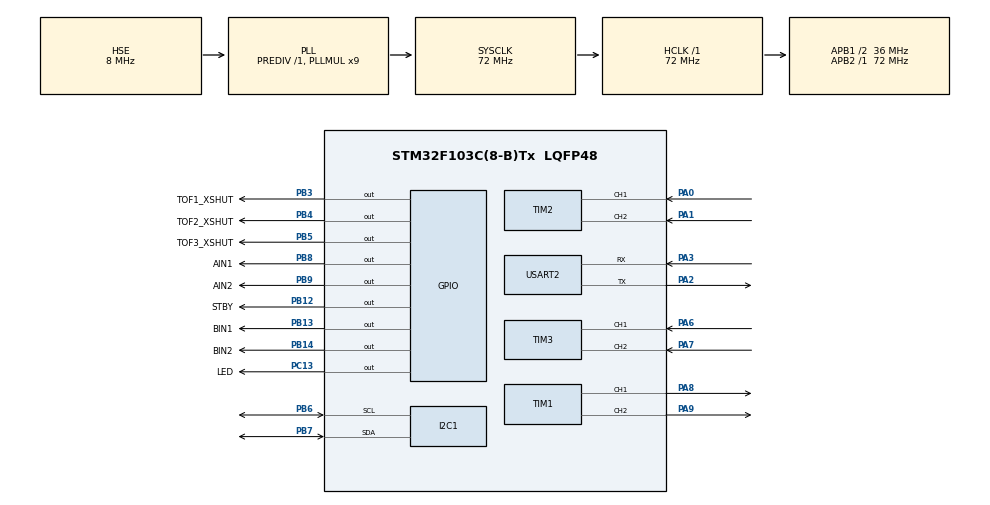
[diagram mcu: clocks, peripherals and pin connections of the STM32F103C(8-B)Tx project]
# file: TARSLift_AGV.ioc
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Mcu.Family=STM32F1
Mcu.Name=STM32F103C(8-B)Tx
Mcu.Package=LQFP48
NVIC.PriorityGroup=NVIC_PRIORITYGROUP_4
NVIC.USART2_IRQn=true\:0\:0\:false\:false\:true\:true\:true\:true
PA0-WKUP.Signal=S_TIM2_CH1_ETR
PA1.Signal=S_TIM2_CH2
PA2.Mode=Asynchronous
PA2.Signal=USART2_TX
PA3.Mode=Asynchronous
PA3.Signal=USART2_RX
PA6.Signal=S_TIM3_CH1
PA7.Signal=S_TIM3_CH2
PA8.Signal=S_TIM1_CH1
PA9.Signal=S_TIM1_CH2
PB12.GPIO_Label=STBY
PB12.Signal=GPIO_Output
PB13.GPIO_Label=BIN1
PB13.Signal=GPIO_Output
PB14.GPIO_Label=BIN2
PB14.Signal=GPIO_Output
PB3.GPIO_Label=TOF1_XSHUT
PB3.Signal=GPIO_Output
PB4.GPIO_Label=TOF2_XSHUT
PB4.Signal=GPIO_Output
PB5.GPIO_Label=TOF3_XSHUT
PB5.GPIO_Speed=GPIO_SPEED_FREQ_LOW
PB5.Signal=GPIO_Output
PB6.Mode=I2C
PB6.Signal=I2C1_SCL
PB7.Mode=I2C
PB7.Signal=I2C1_SDA
PB8.GPIO_Label=AIN1
PB8.Signal=GPIO_Output
PB9.GPIO_Label=AIN2
PB9.Signal=GPIO_Output
PC13-TAMPER-RTC.GPIO_Label=LED
PC13-TAMPER-RTC.Signal=GPIO_Output
PD0-OSC_IN.Mode=HSE-External-Oscillator
PD0-OSC_IN.Signal=RCC_OSC_IN
PD1-OSC_OUT.Mode=HSE-External-Oscillator
PD1-OSC_OUT.Signal=RCC_OSC_OUT
ProjectManager.HeapSize=0x200
ProjectManager.StackSize=0x400
ProjectManager.TargetToolchain=STM32CubeIDE
RCC.AHBFreq_Value=72000000
RCC.APB1CLKDivider=RCC_HCLK_DIV2
RCC.APB1Freq_Value=36000000
RCC.APB1TimFreq_Value=72000000
RCC.APB2Freq_Value=72000000
RCC.APB2TimFreq_Value=72000000
RCC.HCLKFreq_Value=72000000
RCC.PLLMUL=RCC_PLL_MUL9
RCC.PLLSourceVirtual=RCC_PLLSOURCE_HSE
RCC.SYSCLKFreq_VALUE=72000000
RCC.SYSCLKSource=RCC_SYSCLKSOURCE_PLLCLK
RCC.USBFreq_Value=72000000
SH.S_TIM1_CH1.0=TIM1_CH1,PWM Generation1 CH1
SH.S_TIM1_CH2.0=TIM1_CH2,PWM Generation2 CH2
SH.S_TIM2_CH1_ETR.0=TIM2_CH1,Encoder_Interface
SH.S_TIM2_CH2.0=TIM2_CH2,Encoder_Interface
SH.S_TIM3_CH1.0=TIM3_CH1,Encoder_Interface
SH.S_TIM3_CH2.0=TIM3_CH2,Encoder_Interface
TIM1.Channel-PWM\ Generation1\ CH1=TIM_CHANNEL_1
TIM1.Channel-PWM\ Generation2\ CH2=TIM_CHANNEL_2
USART2.VirtualMode=VM_ASYNC
VP_SYS_VS_ND.Mode=No_Debug
VP_TIM1_VS_ClockSourceINT.Mode=Internal
board=custom

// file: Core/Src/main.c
/* USER CODE BEGIN Header */
/**
  ******************************************************************************
  * @file           : main.c
  * @brief          : Main program body
  ******************************************************************************
  * @attention
  *
  * Copyright (c) 2026 STMicroelectronics.
  * All rights reserved.
  *
  * This software is licensed under terms that can be found in the LICENSE file
  * in the root directory of this software component.
  * If no LICENSE file comes with this software, it is provided AS-IS.
  *
  ******************************************************************************
  */
/* USER CODE END Header */
#include "main.h"

/* USER CODE BEGIN Includes */
#include <string.h>
#include "agv_stm32_c.h"
#include "motor.h"
#include "mpu6050.h"
#include "vl53l0x.h"
/* USER CODE END Includes */

I2C_HandleTypeDef hi2c1;

TIM_HandleTypeDef htim1;
TIM_HandleTypeDef htim2;
TIM_HandleTypeDef htim3;

UART_HandleTypeDef huart2;

/* USER CODE BEGIN PV */
static agv_stm32_parser_t agv_parser;
static uint8_t rx_byte;
static uint8_t tx_buffer[128];

static int32_t current_left_dist_mm = 0;
static int32_t current_right_dist_mm = 0;
static int16_t current_yaw_deg_x10 = 0;
static uint32_t last_telemetry_time = 0;

// ============================================================================
// CRASH FIX 1: DispatchCommand was called directly from the UART RxCplt ISR.
// Calling HAL_UART_Transmit() (blocking) from inside an ISR is UNDEFINED
// BEHAVIOR and will lock up the MCU when the transmit IRQ fires at higher
// priority. Fix: set a pending flag in the ISR; dequeue & dispatch in main loop.
// ============================================================================
static volatile bool cmd_pending = false;
static agv_packet_t pending_pkt;  // copy of last received packet

// Motor Trim Percentages (100 = 100%, 80 = 80%, etc)
static uint8_t trim_l_fwd = 100;
static uint8_t trim_r_fwd = 100;
static uint8_t trim_l_turn = 100;
static uint8_t trim_r_turn = 100;

// PID Variables
static float pid_kp_L = 1.0f, pid_ki_L = 0.0f, pid_kd_L = 0.0f;
static float pid_kp_R = 1.0f, pid_ki_R = 0.0f, pid_kd_R = 0.0f;
static float pid_integral_L = 0.0f, pid_integral_R = 0.0f;

static float target_rpm_L = 0.0f, target_rpm_R = 0.0f;
static bool pid_enabled = true;
static float enc_wheel_circ_mm = 138.2f;
static uint16_t enc_ppr_l = 287;
static uint16_t enc_ppr_r = 287;

// BUG FIX 3: repeat_speed_pct stores the speed percentage (0-100) sent by
// AGV_CMD_SET_REPEAT_SPEED. Previously this command was silently ignored.
static uint16_t repeat_speed_pct = 100; // default 100%

static uint32_t last_pid_time = 0;
static uint32_t last_tof_time = 0;  // Separate timer for ToF reads
static uint16_t cached_tof_l = 0, cached_tof_c = 0, cached_tof_r = 0;
static float tof_stop_distance_mm = 150.0f; // Configured stop distance (mm). 0 = disabled.
static bool obstacle_blocked = false;
static bool is_bench_speed_test = false; // Bypass obstacle interlock during PID tuning bench tests

static VL53L0X_Dev_t tof_left;
static VL53L0X_Dev_t tof_center;
static VL53L0X_Dev_t tof_right;
static MPU6050_t mpu_data;
static float current_yaw_float = 0.0f;
static float gyro_z_offset = 0.0f;
static bool calibrating_imu = false;
static uint16_t calib_samples = 0;
static float calib_sum = 0.0f;
static uint32_t i2c_error_count = 0;

/* USER CODE END PV */

void SystemClock_Config(void);
static void MX_GPIO_Init(void);
static void MX_USART2_UART_Init(void);
static void MX_TIM1_Init(void);
static void MX_TIM2_Init(void);
static void MX_TIM3_Init(void);
static void MX_I2C1_Init(void);
/* USER CODE BEGIN PFP */
void AGV_STM32_DispatchCommand(const agv_packet_t *pkt);

// I2C runtime bus recovery: clocks SCL 9 times to free stuck slaves,
// then reinitializes the I2C peripheral.
void I2C_BusRecover(void) {
    // 1. Deinit the HAL I2C peripheral
    HAL_I2C_DeInit(&hi2c1);

    // 2. Bit-bang SCL (PB6) 9 times as GPIO open-drain
    GPIO_InitTypeDef recov = {0};
    recov.Pin   = GPIO_PIN_6 | GPIO_PIN_7;
    recov.Mode  = GPIO_MODE_OUTPUT_OD;
    recov.Speed = GPIO_SPEED_FREQ_LOW;
    HAL_GPIO_Init(GPIOB, &recov);
    HAL_GPIO_WritePin(GPIOB, GPIO_PIN_6 | GPIO_PIN_7, GPIO_PIN_SET);
    HAL_Delay(1);
    for (int i = 0; i < 9; i++) {
        HAL_GPIO_WritePin(GPIOB, GPIO_PIN_6, GPIO_PIN_RESET); HAL_Delay(1);
        HAL_GPIO_WritePin(GPIOB, GPIO_PIN_6, GPIO_PIN_SET);   HAL_Delay(1);
    }
    // Generate STOP: SDA LOW -> HIGH while SCL HIGH
    HAL_GPIO_WritePin(GPIOB, GPIO_PIN_7, GPIO_PIN_RESET); HAL_Delay(1);
    HAL_GPIO_WritePin(GPIOB, GPIO_PIN_7, GPIO_PIN_SET);   HAL_Delay(1);
    HAL_GPIO_DeInit(GPIOB, GPIO_PIN_6 | GPIO_PIN_7);

    // 3. Reinit I2C peripheral
    MX_I2C1_Init();
}

// Check if the I2C bus is in an error state and recover if needed.
// Returns true if a recovery was performed (caller should skip sensor reads).
bool I2C_CheckAndRecover(void) {
    if (hi2c1.ErrorCode != HAL_I2C_ERROR_NONE ||
        hi2c1.State == HAL_I2C_STATE_ERROR ||
        hi2c1.State == HAL_I2C_STATE_BUSY ||
        hi2c1.State == HAL_I2C_STATE_BUSY_TX ||
        hi2c1.State == HAL_I2C_STATE_BUSY_RX) {
        i2c_error_count++;
        I2C_BusRecover();
        return true;
    }
    return false;
}
/* USER CODE END PFP */

/* USER CODE BEGIN 0 */
void AGV_STM32_DispatchCommand(const agv_packet_t *pkt) {
    uint8_t tx_buf[128];
    switch (pkt->cmd) {
        case AGV_CMD_PING: {
            uint16_t tx_len = agv_build_ack(AGV_CMD_PING, AGV_RESULT_OK, pkt->seq, tx_buf, sizeof(tx_buf));
            HAL_UART_Transmit(&huart2, tx_buf, tx_len, 100);
            break;
        }

        case AGV_CMD_CALIBRATE_IMU: {
            calibrating_imu = true;
            calib_samples = 0;
            calib_sum = 0.0f;
            current_yaw_float = 0.0f;
            current_yaw_deg_x10 = 0;
            uint16_t tx_len = agv_build_ack(AGV_CMD_CALIBRATE_IMU, AGV_RESULT_OK, pkt->seq, tx_buf, sizeof(tx_buf));
            HAL_UART_Transmit(&huart2, tx_buf, tx_len, 100);
            break;
        }

        case AGV_CMD_SET_REPEAT_SPEED: {
            // BUG FIX 3: Actually parse and store the speed percentage.
            // agv_parse_set_repeat_speed() returns speed as a 0-100 percent value.
            uint16_t spd_pct = 100;
            if (agv_parse_set_repeat_speed(pkt, &spd_pct)) {
                if (spd_pct > 100) spd_pct = 100;
                repeat_speed_pct = spd_pct;
            }
            uint16_t tx_len = agv_build_ack(AGV_CMD_SET_REPEAT_SPEED, AGV_RESULT_OK, pkt->seq, tx_buf, sizeof(tx_buf));
            HAL_UART_Transmit(&huart2, tx_buf, tx_len, 100);
            break;
        }

        case AGV_CMD_SET_MOTOR_TRIM: {
            uint8_t lFwd = 100, rFwd = 100, lTurn = 100, rTurn = 100;
            if (agv_parse_motor_trim(pkt, &lFwd, &rFwd, &lTurn, &rTurn)) {
                trim_l_fwd = lFwd;
                trim_r_fwd = rFwd;
                trim_l_turn = lTurn;
                trim_r_turn = rTurn;
                uint16_t tx_len = agv_build_ack(AGV_CMD_SET_MOTOR_TRIM, AGV_RESULT_OK, pkt->seq, tx_buf, sizeof(tx_buf));
                HAL_UART_Transmit(&huart2, tx_buf, tx_len, 100);
            }
            break;
        }

        case AGV_CMD_SET_PID_TUNING: {
            float kpL, kiL, kdL, kpR, kiR, kdR;
            if (agv_parse_set_pid_tuning(pkt, &kpL, &kiL, &kdL, &kpR, &kiR, &kdR)) {
                pid_kp_L = kpL; pid_ki_L = kiL; pid_kd_L = kdL;
                pid_kp_R = kpR; pid_ki_R = kiR; pid_kd_R = kdR;
                uint16_t tx_len = agv_build_ack(AGV_CMD_SET_PID_TUNING, AGV_RESULT_OK, pkt->seq, tx_buf, sizeof(tx_buf));
                HAL_UART_Transmit(&huart2, tx_buf, tx_len, 100);
            }
            break;
        }

        case AGV_CMD_SET_PID_ENABLE: {
            bool enabled;
            if (agv_parse_set_pid_enable(pkt, &enabled)) {
                pid_enabled = enabled;
                uint16_t tx_len = agv_build_ack(AGV_CMD_SET_PID_ENABLE, AGV_RESULT_OK, pkt->seq, tx_buf, sizeof(tx_buf));
                HAL_UART_Transmit(&huart2, tx_buf, tx_len, 100);
            }
            break;
        }

        case AGV_CMD_SET_TOF_CONFIG: {
            float stop_dist = 0.0f;
            if (agv_parse_set_tof_config(pkt, &stop_dist)) {
                tof_stop_distance_mm = stop_dist;
                uint16_t tx_len = agv_build_ack(AGV_CMD_SET_TOF_CONFIG, AGV_RESULT_OK, pkt->seq, tx_buf, sizeof(tx_buf));
                HAL_UART_Transmit(&huart2, tx_buf, tx_len, 100);
            }
            break;
        }

        case AGV_CMD_SET_ENCODER_CONFIG: {
            float wheel_circ; uint16_t ppr_l, ppr_r;
            if (agv_parse_set_encoder_config(pkt, &wheel_circ, &ppr_l, &ppr_r)) {
                enc_wheel_circ_mm = wheel_circ;
                enc_ppr_l = ppr_l;
                enc_ppr_r = ppr_r;
                uint16_t tx_len = agv_build_ack(AGV_CMD_SET_ENCODER_CONFIG, AGV_RESULT_OK, pkt->seq, tx_buf, sizeof(tx_buf));
                HAL_UART_Transmit(&huart2, tx_buf, tx_len, 100);
            }
            break;
        }

        case AGV_CMD_TEACH_START: {
            uint16_t tx_len = agv_build_status(AGV_STATE_READY, 0x00, pkt->seq, tx_buf, sizeof(tx_buf));
            HAL_UART_Transmit(&huart2, tx_buf, tx_len, 100);
            break;
        }

        case AGV_CMD_HEARTBEAT: {
            uint16_t tx_len = agv_build_ack(AGV_CMD_HEARTBEAT, AGV_RESULT_OK, pkt->seq, tx_buf, sizeof(tx_buf));
            HAL_UART_Transmit(&huart2, tx_buf, tx_len, 100);
            break;
        }

        case AGV_CMD_GET_STATUS: {
            uint16_t tx_len = agv_build_status(AGV_STATE_READY, 0x00, pkt->seq, tx_buf, sizeof(tx_buf));
            HAL_UART_Transmit(&huart2, tx_buf, tx_len, 100);
            break;
        }

        case AGV_CMD_GET_VERSION: {
            uint16_t tx_len = agv_build_version(1, 0, 1, 2, 0, pkt->seq, tx_buf, sizeof(tx_buf));
            HAL_UART_Transmit(&huart2, tx_buf, tx_len, 100);
            break;
        }

        case AGV_CMD_MOVE: {
            is_bench_speed_test = false;
            int32_t distance_mm = 0;
            uint16_t speed_mm_s = 0;
            if (agv_parse_move(pkt, &distance_mm, &speed_mm_s)) {
                current_left_dist_mm += distance_mm;
                current_right_dist_mm += distance_mm;

                // Closed-Loop Drive Mapping: apply repeat_speed_pct scale
                float target_rpm = (speed_mm_s * 60.0f) / enc_wheel_circ_mm;
                target_rpm = target_rpm * repeat_speed_pct / 100.0f;

                if (distance_mm < 0) { // Reverse
                    target_rpm = -target_rpm;
                }

                target_rpm_L = target_rpm;
                target_rpm_R = target_rpm;

                uint16_t tx_len = agv_build_ack(AGV_CMD_MOVE, AGV_RESULT_OK, pkt->seq, tx_buf, sizeof(tx_buf));
                HAL_UART_Transmit(&huart2, tx_buf, tx_len, 100);

                tx_len = agv_build_odometry(current_left_dist_mm, current_right_dist_mm, current_yaw_deg_x10, pkt->seq, tx_buf, sizeof(tx_buf));
                HAL_UART_Transmit(&huart2, tx_buf, tx_len, 100);

                tx_len = agv_build_move_done(pkt->seq, AGV_RESULT_OK, pkt->seq + 1, tx_buf, sizeof(tx_buf));
                HAL_UART_Transmit(&huart2, tx_buf, tx_len, 100);
            }
            break;
        }

        case AGV_CMD_TURN: {
            is_bench_speed_test = false;
            int16_t angle_deg_x10 = 0;
            uint16_t speed_deg_s = 0;
            if (agv_parse_turn(pkt, &angle_deg_x10, &speed_deg_s)) {
                current_yaw_deg_x10 += angle_deg_x10;

                // Closed-Loop Turn Mapping: convert turning speed to differential wheel RPM
                float track_width_mm = 160.0f;
                float turn_speed_rad_s = (speed_deg_s * 3.14159f) / 180.0f;
                float wheel_speed_mm_s = turn_speed_rad_s * (track_width_mm / 2.0f);
                float turn_rpm = (wheel_speed_mm_s * 60.0f) / enc_wheel_circ_mm;
                turn_rpm = turn_rpm * repeat_speed_pct / 100.0f;

                if (angle_deg_x10 > 0) { // Turn Right
                    target_rpm_L = turn_rpm;
                    target_rpm_R = -turn_rpm;
                } else { // Turn Left
                    target_rpm_L = -turn_rpm;
                    target_rpm_R = turn_rpm;
                }

                uint16_t tx_len = agv_build_ack(AGV_CMD_TURN, AGV_RESULT_OK, pkt->seq, tx_buf, sizeof(tx_buf));
                HAL_UART_Transmit(&huart2, tx_buf, tx_len, 100);

                tx_len = agv_build_turn_done(pkt->seq, AGV_RESULT_OK, pkt->seq + 1, tx_buf, sizeof(tx_buf));
                HAL_UART_Transmit(&huart2, tx_buf, tx_len, 100);
            }
            break;
        }

        case AGV_CMD_STOP: {
            is_bench_speed_test = false;
            target_rpm_L = 0;
            target_rpm_R = 0;
            pid_integral_L = 0;
            pid_integral_R = 0;
            Motor_SetSpeed(0, 0); // Stop both motors

            uint16_t tx_len = agv_build_ack(AGV_CMD_STOP, AGV_RESULT_OK, pkt->seq, tx_buf, sizeof(tx_buf));
            HAL_UART_Transmit(&huart2, tx_buf, tx_len, 100);
            break;
        }

        case AGV_CMD_SET_SPEEDS: {
            int16_t left_speed_mm_s = 0;
            int16_t right_speed_mm_s = 0;
            if (agv_parse_set_speeds(pkt, &left_speed_mm_s, &right_speed_mm_s)) {
                // Convert mm/s to RPM
                target_rpm_L = (left_speed_mm_s * 60.0f) / enc_wheel_circ_mm;
                target_rpm_R = (right_speed_mm_s * 60.0f) / enc_wheel_circ_mm;
                is_bench_speed_test = (target_rpm_L != 0.0f || target_rpm_R != 0.0f);

                uint16_t tx_len = agv_build_ack(AGV_CMD_SET_SPEEDS, AGV_RESULT_OK, pkt->seq, tx_buf, sizeof(tx_buf));
                HAL_UART_Transmit(&huart2, tx_buf, tx_len, 100);
            }
            break;
        }

        default: {
            uint16_t tx_len = agv_build_ack(pkt->cmd, AGV_RESULT_OK, pkt->seq, tx_buf, sizeof(tx_buf));
            HAL_UART_Transmit(&huart2, tx_buf, tx_len, 100);
            break;
        }
    }
}

void HAL_UART_RxCpltCallback(UART_HandleTypeDef *huart) {
    if (huart->Instance == USART2) {
        // CRASH FIX 1: Do NOT call DispatchCommand() here.
        // HAL_UART_Transmit() is a blocking call that waits on the TX-complete flag.
        // Calling it from inside the UART ISR deadlocks when the TXE interrupt
        // fires (same or lower priority) — the ISR never returns -> HardFault.
        // Instead: parse the byte into the packet buffer, then set a flag for
        // the main loop to pick up and execute the dispatch safely.
        if (agv_stm32_parser_feed(&agv_parser, rx_byte)) {
            if (!cmd_pending) {  // don't overwrite an unhandled packet
                pending_pkt = agv_parser.rx_pkt;
                cmd_pending = true;
            }
        }
        HAL_UART_Receive_IT(&huart2, &rx_byte, 1);
    }
}

void HAL_UART_ErrorCallback(UART_HandleTypeDef *huart) {
    if (huart->Instance == USART2) {
        __HAL_UART_CLEAR_PEFLAG(huart);
        __HAL_UART_CLEAR_FEFLAG(huart);
        __HAL_UART_CLEAR_NEFLAG(huart);
        __HAL_UART_CLEAR_OREFLAG(huart);
        huart->ErrorCode = HAL_UART_ERROR_NONE;
        huart->gState = HAL_UART_STATE_READY;
        huart->RxState = HAL_UART_STATE_READY;
        HAL_UART_Receive_IT(&huart2, &rx_byte, 1);
    }
}
/* USER CODE END 0 */

int main(void)
{

  /* MCU Configuration--------------------------------------------------------*/

  /* Reset of all peripherals, Initializes the Flash interface and the Systick. */
  HAL_Init();

  /* Configure the system clock */
  SystemClock_Config();

  /* Initialize all configured peripherals */
  MX_GPIO_Init();
  MX_USART2_UART_Init();
  MX_TIM1_Init();
  MX_TIM2_Init();
  MX_TIM3_Init();
  MX_I2C1_Init();
  /* USER CODE BEGIN 2 */
  agv_stm32_parser_init(&agv_parser);
  HAL_UART_Receive_IT(&huart2, &rx_byte, 1);

  // Start Motor Timers and Init Driver
  HAL_TIM_PWM_Start(&htim1, TIM_CHANNEL_1);
  HAL_TIM_PWM_Start(&htim1, TIM_CHANNEL_2);

  // Start Encoder Timers
  HAL_TIM_Encoder_Start(&htim2, TIM_CHANNEL_ALL);
  HAL_TIM_Encoder_Start(&htim3, TIM_CHANNEL_ALL);

  Motor_Init();

  // Reset all ToF sensors
  HAL_GPIO_WritePin(GPIOB, TOF1_XSHUT_Pin | TOF2_XSHUT_Pin | TOF3_XSHUT_Pin, GPIO_PIN_RESET);
  HAL_Delay(10);

  // Init TOF1 (Left)
  HAL_GPIO_WritePin(GPIOB, TOF1_XSHUT_Pin, GPIO_PIN_SET);
  HAL_Delay(10);
  tof_left.I2C_Handler = &hi2c1;
  tof_left.i2cAddr = ADDRESS_DEFAULT;
  initVL53L0X(&tof_left, 0, &hi2c1);
  setAddress_VL53L0X(&tof_left, 0x54);

  // Init TOF2 (Center)
  HAL_GPIO_WritePin(GPIOB, TOF2_XSHUT_Pin, GPIO_PIN_SET);
  HAL_Delay(10);
  tof_center.I2C_Handler = &hi2c1;
  tof_center.i2cAddr = ADDRESS_DEFAULT;
  initVL53L0X(&tof_center, 0, &hi2c1);
  setAddress_VL53L0X(&tof_center, 0x56);

  // Init TOF3 (Right)
  HAL_GPIO_WritePin(GPIOB, TOF3_XSHUT_Pin, GPIO_PIN_SET);
  HAL_Delay(10);
  tof_right.I2C_Handler = &hi2c1;
  tof_right.i2cAddr = ADDRESS_DEFAULT;
  initVL53L0X(&tof_right, 0, &hi2c1);
  setAddress_VL53L0X(&tof_right, 0x58);

  // Start continuous mode
  startContinuous(&tof_left, 0); // 0 = Back-to-back mode
  startContinuous(&tof_center, 0);
  startContinuous(&tof_right, 0);

  // CRASH FIX 3: VL53L0X ioTimeout is 0 by default, meaning checkTimeoutExpired()
  // ALWAYS returns false -> while loops in readRangeContinuousMillimeters() spin
  // forever if a sensor fails or I2C hangs. Set a 50ms timeout so a dead sensor
  // returns 65535 instead of locking the MCU.
  setTimeout(&tof_left, 50);
  setTimeout(&tof_center, 50);
  setTimeout(&tof_right, 50);

  // Init MPU6050
  MPU6050_Init(&hi2c1);
  Load_IMU_Offset();

  /* USER CODE END 2 */

  /* Infinite loop */
  while (1)
  {

    /* USER CODE BEGIN 3 */
    uint32_t now = HAL_GetTick();

    // CRASH FIX 1: Process any command queued by the UART ISR safely from the
    // main loop context, where HAL_UART_Transmit() blocking calls are safe.
    if (cmd_pending) {
        // Take a local copy of the packet BEFORE clearing the flag.
        // This prevents a race where the ISR fires after clear but before
        // we finish reading the struct.
        agv_packet_t local_pkt = pending_pkt;
        cmd_pending = false;  // clear flag so ISR can queue next packet
        AGV_STM32_DispatchCommand(&local_pkt);
    }

    static uint32_t last_led_time = 0;
    if (now - last_led_time >= 500) {
        last_led_time = now;
        HAL_GPIO_TogglePin(GPIOC, GPIO_PIN_13);
    }

    if (now - last_pid_time >= 20) { // 50Hz PID loop
        float dt = (now - last_pid_time) / 1000.0f;

        // BUG FIX 5: Guard against dt == 0 (same millisecond tick)
        if (dt < 0.001f) {
            goto pid_skip;
        }

        // I2C HEALTH CHECK: If bus is stuck, recover before reading sensors.
        if (I2C_CheckAndRecover()) {
            // Bus was in error — skip this PID cycle, sensors need reinit time
            goto pid_skip;
        }

        // We successfully passed all checks, now we can commit the new timestamp
        last_pid_time = now;

        // MPU6050 Read and Integrate
        MPU6050_Read_All(&hi2c1, &mpu_data);

        if (calibrating_imu) {
            calib_sum += mpu_data.Gz;
            calib_samples++;
            if (calib_samples >= 100) { // 2 seconds at 50Hz
                gyro_z_offset = calib_sum / 100.0f;
                calibrating_imu = false;
                Save_IMU_Offset();
            }
        } else {
            // Integrate Gyro Z (Gz is in degrees/second)
            // Subtract offset to prevent drift
            float raw_gz = mpu_data.Gz - gyro_z_offset;

            // Add a deadband to ignore tiny sensor noise when perfectly still
            if (raw_gz > -0.3f && raw_gz < 0.3f) {
                raw_gz = 0.0f;
            }

            current_yaw_float += raw_gz * dt;

            // Wrap around -180 to 180
            if (current_yaw_float > 180.0f) current_yaw_float -= 360.0f;
            if (current_yaw_float < -180.0f) current_yaw_float += 360.0f;

            current_yaw_deg_x10 = (int16_t)(current_yaw_float * 10.0f);
        }

        // Read real hardware encoders (16-bit cast to handle underflow/overflow correctly for deltas)
        static int32_t last_enc_l = 0, last_enc_r = 0;
        int32_t current_enc_l = (int16_t)__HAL_TIM_GET_COUNTER(&htim3);
        int32_t current_enc_r = (int16_t)__HAL_TIM_GET_COUNTER(&htim2);

        int16_t delta_l = (int16_t)(current_enc_l - last_enc_l);
        int16_t delta_r = (int16_t)(current_enc_r - last_enc_r);
        last_enc_l = current_enc_l;
        last_enc_r = current_enc_r;

        float actual_rpm_L = ((float)delta_l / enc_ppr_l) / dt * 60.0f;
        float actual_rpm_R = ((float)delta_r / enc_ppr_r) / dt * 60.0f;

        // Static variables for Derivative on Measurement
        static float prev_actual_rpm_L = 0.0f;
        static float prev_actual_rpm_R = 0.0f;

        // ----- IMU HEADING ASSIST -----
        // Uses the MPU6050 yaw to fix heading drift when going straight ("no change")
        static float target_heading = 0.0f;
        static bool was_turning = true;

        float current_target_L = target_rpm_L;
        float current_target_R = target_rpm_R;

        if (target_rpm_L != target_rpm_R || target_rpm_L == 0.0f) {
            was_turning = true; // Not moving straight, or stopped
        } else {
            if (was_turning) {
                target_heading = current_yaw_float; // Lock in the heading
                was_turning = false;
            }

            // Calculate how far we drifted from our locked heading
            float heading_error = current_yaw_float - target_heading;

            // Wrap around -180 to 180
            if (heading_error > 180.0f) heading_error -= 360.0f;
            if (heading_error < -180.0f) heading_error += 360.0f;

            // Proportional correction: adjust target RPM based on drift
            // (e.g. 1.0 RPM per degree of error)
            float assist_kp_rpm = 2.0f;
            float correction_rpm = heading_error * assist_kp_rpm;

            // Limit the maximum correction so we don't accidentally ask a motor
            // to do 300 RPM just to fix a sharp drift
            if (correction_rpm > 30.0f) correction_rpm = 30.0f;
            if (correction_rpm < -30.0f) correction_rpm = -30.0f;

            // Apply correction
            current_target_L += correction_rpm;
            current_target_R -= correction_rpm;

            // Absolute safety clamp for target RPMs to prevent surging out of control
            if (current_target_L > 200.0f) current_target_L = 200.0f;
            if (current_target_L < -200.0f) current_target_L = -200.0f;
            if (current_target_R > 200.0f) current_target_R = 200.0f;
            if (current_target_R < -200.0f) current_target_R = -200.0f;
        }
        // ------------------------------

        // ----- PID Left -----
        float err_L = current_target_L - actual_rpm_L;

        // Anti-Windup for Integral (clamp to max PWM contribution)
        float max_i_L = (pid_ki_L > 0.0001f) ? (1000.0f / pid_ki_L) : 0.0f;
        pid_integral_L += err_L * dt;
        if (max_i_L > 0.0f) {
            if (pid_integral_L > max_i_L) pid_integral_L = max_i_L;
            if (pid_integral_L < -max_i_L) pid_integral_L = -max_i_L;
        } else {
            pid_integral_L = 0.0f;
        }

        // Derivative on Measurement (prevents derivative kick on target changes)
        float deriv_L = -(actual_rpm_L - prev_actual_rpm_L) / dt;
        prev_actual_rpm_L = actual_rpm_L;

        // Feed-Forward (open loop base speed estimation)
        float ff_L = current_target_L * (1000.0f / 330.0f);

        float out_L = ff_L + (pid_kp_L * err_L) + (pid_ki_L * pid_integral_L) + (pid_kd_L * deriv_L);

        // ----- PID Right -----
        float err_R = current_target_R - actual_rpm_R;

        // Anti-Windup for Integral
        float max_i_R = (pid_ki_R > 0.0001f) ? (1000.0f / pid_ki_R) : 0.0f;
        pid_integral_R += err_R * dt;
        if (max_i_R > 0.0f) {
            if (pid_integral_R > max_i_R) pid_integral_R = max_i_R;
            if (pid_integral_R < -max_i_R) pid_integral_R = -max_i_R;
        } else {
            pid_integral_R = 0.0f;
        }

        // Derivative on Measurement
        float deriv_R = -(actual_rpm_R - prev_actual_rpm_R) / dt;
        prev_actual_rpm_R = actual_rpm_R;

        // Feed-Forward (open loop base speed estimation)
        float ff_R = current_target_R * (1000.0f / 330.0f);

        float out_R = ff_R + (pid_kp_R * err_R) + (pid_ki_R * pid_integral_R) + (pid_kd_R * deriv_R);

        // Obstacle Safety Check (Front ToF Sensors)
        bool is_obstacle = false;
        if (tof_stop_distance_mm > 0.0f) {
            uint16_t thresh = (uint16_t)tof_stop_distance_mm;
            if ((cached_tof_l > 20 && cached_tof_l <= thresh) ||
                (cached_tof_c > 20 && cached_tof_c <= thresh) ||
                (cached_tof_r > 20 && cached_tof_r <= thresh)) {
                is_obstacle = true;
            }
        }
        obstacle_blocked = is_obstacle;
        float net_forward = (target_rpm_L + target_rpm_R) / 2.0f;

        // Apply output
        if (target_rpm_L == 0.0f && target_rpm_R == 0.0f) {
            Motor_SetSpeed(0, 0);
            pid_integral_L = 0;
            pid_integral_R = 0;
        } else if (obstacle_blocked && net_forward > 0.0f && !is_bench_speed_test) {
            // Forward motion blocked by obstacle during autonomous drive! Stop motors and clear integrals.
            // When obstacle clears (obstacle_blocked becomes false), motion automatically resumes!
            Motor_SetSpeed(0, 0);
            pid_integral_L = 0;
            pid_integral_R = 0;
        } else if (!pid_enabled) {
            // Open-loop control (assume 330 RPM = max PWM 1000)
            int16_t pwm_L = (int16_t)(current_target_L * (1000.0f / 330.0f));
            int16_t pwm_R = (int16_t)(current_target_R * (1000.0f / 330.0f));

            if (pwm_L > 1000) pwm_L = 1000;
            if (pwm_L < -1000) pwm_L = -1000;
            if (pwm_R > 1000) pwm_R = 1000;
            if (pwm_R < -1000) pwm_R = -1000;
            // BUG FIX 4: Apply motor trim factors to open-loop output
            pwm_L = (int16_t)((pwm_L >= 0) ? (pwm_L * trim_l_fwd / 100) : (pwm_L * trim_l_turn / 100));
            pwm_R = (int16_t)((pwm_R >= 0) ? (pwm_R * trim_r_fwd / 100) : (pwm_R * trim_r_turn / 100));
            Motor_SetSpeed(pwm_L, pwm_R);
        } else {
            int16_t pwm_L = (int16_t)out_L;
            if (pwm_L > 1000) pwm_L = 1000;
            if (pwm_L < -1000) pwm_L = -1000;

            int16_t pwm_R = (int16_t)out_R;
            if (pwm_R > 1000) pwm_R = 1000;
            if (pwm_R < -1000) pwm_R = -1000;

            // BUG FIX 4: Apply motor trim factors to closed-loop (PID) output
            pwm_L = (int16_t)((pwm_L >= 0) ? (pwm_L * trim_l_fwd / 100) : (pwm_L * trim_l_turn / 100));
            pwm_R = (int16_t)((pwm_R >= 0) ? (pwm_R * trim_r_fwd / 100) : (pwm_R * trim_r_turn / 100));

            Motor_SetSpeed(pwm_L, pwm_R);
        }
    }
    pid_skip:;

    // ================================================================
    // ToF sensors: Read at 5Hz (every 200ms) instead of 20Hz.
    // Each VL53L0X read can take up to 50ms on timeout, so reading
    // all 3 at 20Hz (50ms cycle) can starve the MPU6050 PID loop.
    // ================================================================
    if (now - last_tof_time >= 100) { // 10Hz ToF updates
        last_tof_time = now;
        // Non-blocking architecture: Only read if data is ready.
        // If a sensor fails or hangs, it will be skipped instantly!
        if (!I2C_CheckAndRecover()) {
            if (isDataReady(&tof_left)) cached_tof_l = readRangeContinuousMillimeters(&tof_left, NULL);
            if (isDataReady(&tof_center)) cached_tof_c = readRangeContinuousMillimeters(&tof_center, NULL);
            if (isDataReady(&tof_right)) cached_tof_r = readRangeContinuousMillimeters(&tof_right, NULL);
        }
    }

    if (now - last_telemetry_time >= 50) { // 20Hz Unified Telemetry to ESP32
        last_telemetry_time = now;

        // Auto-recover from HAL UART error state if noise or overrun occurred
        if (huart2.ErrorCode != HAL_UART_ERROR_NONE || huart2.gState == HAL_UART_STATE_ERROR) {
            __HAL_UART_CLEAR_OREFLAG(&huart2);
            __HAL_UART_CLEAR_NEFLAG(&huart2);
            __HAL_UART_CLEAR_FEFLAG(&huart2);
            huart2.ErrorCode = HAL_UART_ERROR_NONE;
            huart2.gState = HAL_UART_STATE_READY;
        }

        int32_t left_pulses = (int16_t)__HAL_TIM_GET_COUNTER(&htim3);
        int32_t right_pulses = (int16_t)__HAL_TIM_GET_COUNTER(&htim2);

        // Build unified telemetry packet
        uint16_t tx_len = agv_build_telemetry_sync(
            current_left_dist_mm, current_right_dist_mm, // Odometry
            left_pulses, right_pulses,                   // Encoders
            cached_tof_l, cached_tof_c, cached_tof_r,    // ToF
            mpu_data.Accel_X_RAW, mpu_data.Accel_Y_RAW, mpu_data.Accel_Z_RAW, // IMU Accel
            mpu_data.Gyro_X_RAW, mpu_data.Gyro_Y_RAW, mpu_data.Gyro_Z_RAW,    // IMU Gyro
            current_yaw_deg_x10,                         // IMU Yaw
            0, tx_buffer, sizeof(tx_buffer)
        );

        HAL_UART_Transmit(&huart2, tx_buffer, tx_len, 50);
    }
  }
  /* USER CODE END 3 */
}

void SystemClock_Config(void)
{
  RCC_OscInitTypeDef RCC_OscInitStruct = {0};
  RCC_ClkInitTypeDef RCC_ClkInitStruct = {0};

  /** Initializes the RCC Oscillators according to the specified parameters
  * in the RCC_OscInitTypeDef structure.
  */
  RCC_OscInitStruct.OscillatorType = RCC_OSCILLATORTYPE_HSE;
  RCC_OscInitStruct.HSEState = RCC_HSE_ON;
  RCC_OscInitStruct.HSEPredivValue = RCC_HSE_PREDIV_DIV1;
  RCC_OscInitStruct.HSIState = RCC_HSI_ON;
  RCC_OscInitStruct.PLL.PLLState = RCC_PLL_ON;
  RCC_OscInitStruct.PLL.PLLSource = RCC_PLLSOURCE_HSE;
  RCC_OscInitStruct.PLL.PLLMUL = RCC_PLL_MUL9;
  if (HAL_RCC_OscConfig(&RCC_OscInitStruct) != HAL_OK)
  {
    Error_Handler();
  }

  /** Initializes the CPU, AHB and APB buses clocks
  */
  RCC_ClkInitStruct.ClockType = RCC_CLOCKTYPE_HCLK|RCC_CLOCKTYPE_SYSCLK
                              |RCC_CLOCKTYPE_PCLK1|RCC_CLOCKTYPE_PCLK2;
  RCC_ClkInitStruct.SYSCLKSource = RCC_SYSCLKSOURCE_PLLCLK;
  RCC_ClkInitStruct.AHBCLKDivider = RCC_SYSCLK_DIV1;
  RCC_ClkInitStruct.APB1CLKDivider = RCC_HCLK_DIV2;
  RCC_ClkInitStruct.APB2CLKDivider = RCC_HCLK_DIV1;

  if (HAL_RCC_ClockConfig(&RCC_ClkInitStruct, FLASH_LATENCY_2) != HAL_OK)
  {
    Error_Handler();
  }
}

static void MX_I2C1_Init(void)
{

  hi2c1.Instance = I2C1;
  hi2c1.Init.ClockSpeed = 100000;
  hi2c1.Init.DutyCycle = I2C_DUTYCYCLE_2;
  hi2c1.Init.OwnAddress1 = 0;
  hi2c1.Init.AddressingMode = I2C_ADDRESSINGMODE_7BIT;
  hi2c1.Init.DualAddressMode = I2C_DUALADDRESS_DISABLE;
  hi2c1.Init.OwnAddress2 = 0;
  hi2c1.Init.GeneralCallMode = I2C_GENERALCALL_DISABLE;
  hi2c1.Init.NoStretchMode = I2C_NOSTRETCH_DISABLE;
  if (HAL_I2C_Init(&hi2c1) != HAL_OK)
  {
    Error_Handler();
  }

}

static void MX_TIM1_Init(void)
{

  TIM_ClockConfigTypeDef sClockSourceConfig = {0};
  TIM_MasterConfigTypeDef sMasterConfig = {0};
  TIM_OC_InitTypeDef sConfigOC = {0};
  TIM_BreakDeadTimeConfigTypeDef sBreakDeadTimeConfig = {0};

  htim1.Instance = TIM1;
  htim1.Init.Prescaler = 0;
  htim1.Init.CounterMode = TIM_COUNTERMODE_UP;
  htim1.Init.Period = 65535;
  htim1.Init.ClockDivision = TIM_CLOCKDIVISION_DIV1;
  htim1.Init.RepetitionCounter = 0;
  htim1.Init.AutoReloadPreload = TIM_AUTORELOAD_PRELOAD_DISABLE;
  if (HAL_TIM_Base_Init(&htim1) != HAL_OK)
  {
    Error_Handler();
  }
  sClockSourceConfig.ClockSource = TIM_CLOCKSOURCE_INTERNAL;
  if (HAL_TIM_ConfigClockSource(&htim1, &sClockSourceConfig) != HAL_OK)
  {
    Error_Handler();
  }
  if (HAL_TIM_PWM_Init(&htim1) != HAL_OK)
  {
    Error_Handler();
  }
  sMasterConfig.MasterOutputTrigger = TIM_TRGO_RESET;
  sMasterConfig.MasterSlaveMode = TIM_MASTERSLAVEMODE_DISABLE;
  if (HAL_TIMEx_MasterConfigSynchronization(&htim1, &sMasterConfig) != HAL_OK)
  {
    Error_Handler();
  }
  sConfigOC.OCMode = TIM_OCMODE_PWM1;
  sConfigOC.Pulse = 0;
  sConfigOC.OCPolarity = TIM_OCPOLARITY_HIGH;
  sConfigOC.OCNPolarity = TIM_OCNPOLARITY_HIGH;
  sConfigOC.OCFastMode = TIM_OCFAST_DISABLE;
  sConfigOC.OCIdleState = TIM_OCIDLESTATE_RESET;
  sConfigOC.OCNIdleState = TIM_OCNIDLESTATE_RESET;
  if (HAL_TIM_PWM_ConfigChannel(&htim1, &sConfigOC, TIM_CHANNEL_1) != HAL_OK)
  {
    Error_Handler();
  }
  if (HAL_TIM_PWM_ConfigChannel(&htim1, &sConfigOC, TIM_CHANNEL_2) != HAL_OK)
  {
    Error_Handler();
  }
  sBreakDeadTimeConfig.OffStateRunMode = TIM_OSSR_DISABLE;
  sBreakDeadTimeConfig.OffStateIDLEMode = TIM_OSSI_DISABLE;
  sBreakDeadTimeConfig.LockLevel = TIM_LOCKLEVEL_OFF;
  sBreakDeadTimeConfig.DeadTime = 0;
  sBreakDeadTimeConfig.BreakState = TIM_BREAK_DISABLE;
  sBreakDeadTimeConfig.BreakPolarity = TIM_BREAKPOLARITY_HIGH;
  sBreakDeadTimeConfig.AutomaticOutput = TIM_AUTOMATICOUTPUT_DISABLE;
  if (HAL_TIMEx_ConfigBreakDeadTime(&htim1, &sBreakDeadTimeConfig) != HAL_OK)
  {
    Error_Handler();
  }
  HAL_TIM_MspPostInit(&htim1);

}

static void MX_TIM2_Init(void)
{

  TIM_Encoder_InitTypeDef sConfig = {0};
  TIM_MasterConfigTypeDef sMasterConfig = {0};

  htim2.Instance = TIM2;
  htim2.Init.Prescaler = 0;
  htim2.Init.CounterMode = TIM_COUNTERMODE_UP;
  htim2.Init.Period = 65535;
  htim2.Init.ClockDivision = TIM_CLOCKDIVISION_DIV1;
  htim2.Init.AutoReloadPreload = TIM_AUTORELOAD_PRELOAD_DISABLE;
  sConfig.EncoderMode = TIM_ENCODERMODE_TI1;
  sConfig.IC1Polarity = TIM_ICPOLARITY_RISING;
  sConfig.IC1Selection = TIM_ICSELECTION_DIRECTTI;
  sConfig.IC1Prescaler = TIM_ICPSC_DIV1;
  sConfig.IC1Filter = 0;
  sConfig.IC2Polarity = TIM_ICPOLARITY_RISING;
  sConfig.IC2Selection = TIM_ICSELECTION_DIRECTTI;
  sConfig.IC2Prescaler = TIM_ICPSC_DIV1;
  sConfig.IC2Filter = 0;
  if (HAL_TIM_Encoder_Init(&htim2, &sConfig) != HAL_OK)
  {
    Error_Handler();
  }
  sMasterConfig.MasterOutputTrigger = TIM_TRGO_RESET;
  sMasterConfig.MasterSlaveMode = TIM_MASTERSLAVEMODE_DISABLE;
  if (HAL_TIMEx_MasterConfigSynchronization(&htim2, &sMasterConfig) != HAL_OK)
  {
    Error_Handler();
  }

}

static void MX_TIM3_Init(void)
{

  TIM_Encoder_InitTypeDef sConfig = {0};
  TIM_MasterConfigTypeDef sMasterConfig = {0};

  htim3.Instance = TIM3;
  htim3.Init.Prescaler = 0;
  htim3.Init.CounterMode = TIM_COUNTERMODE_UP;
  htim3.Init.Period = 65535;
  htim3.Init.ClockDivision = TIM_CLOCKDIVISION_DIV1;
  htim3.Init.AutoReloadPreload = TIM_AUTORELOAD_PRELOAD_DISABLE;
  sConfig.EncoderMode = TIM_ENCODERMODE_TI1;
  sConfig.IC1Polarity = TIM_ICPOLARITY_RISING;
  sConfig.IC1Selection = TIM_ICSELECTION_DIRECTTI;
  sConfig.IC1Prescaler = TIM_ICPSC_DIV1;
  sConfig.IC1Filter = 0;
  sConfig.IC2Polarity = TIM_ICPOLARITY_RISING;
  sConfig.IC2Selection = TIM_ICSELECTION_DIRECTTI;
  sConfig.IC2Prescaler = TIM_ICPSC_DIV1;
  sConfig.IC2Filter = 0;
  if (HAL_TIM_Encoder_Init(&htim3, &sConfig) != HAL_OK)
  {
    Error_Handler();
  }
  sMasterConfig.MasterOutputTrigger = TIM_TRGO_RESET;
  sMasterConfig.MasterSlaveMode = TIM_MASTERSLAVEMODE_DISABLE;
  if (HAL_TIMEx_MasterConfigSynchronization(&htim3, &sMasterConfig) != HAL_OK)
  {
    Error_Handler();
  }

}

static void MX_USART2_UART_Init(void)
{

  huart2.Instance = USART2;
  huart2.Init.BaudRate = 115200;
  huart2.Init.WordLength = UART_WORDLENGTH_8B;
  huart2.Init.StopBits = UART_STOPBITS_1;
  huart2.Init.Parity = UART_PARITY_NONE;
  huart2.Init.Mode = UART_MODE_TX_RX;
  huart2.Init.HwFlowCtl = UART_HWCONTROL_NONE;
  huart2.Init.OverSampling = UART_OVERSAMPLING_16;
  if (HAL_UART_Init(&huart2) != HAL_OK)
  {
    Error_Handler();
  }

}

static void MX_GPIO_Init(void)
{
  GPIO_InitTypeDef GPIO_InitStruct = {0};

  /* GPIO Ports Clock Enable */
  __HAL_RCC_GPIOC_CLK_ENABLE();
  __HAL_RCC_GPIOD_CLK_ENABLE();
  __HAL_RCC_GPIOA_CLK_ENABLE();
  __HAL_RCC_GPIOB_CLK_ENABLE();

  /*Configure GPIO pin Output Level */
  HAL_GPIO_WritePin(LED_GPIO_Port, LED_Pin, GPIO_PIN_RESET);

  /*Configure GPIO pin Output Level */
  HAL_GPIO_WritePin(GPIOB, STBY_Pin|BIN1_Pin|BIN2_Pin|TOF1_XSHUT_Pin
                          |TOF2_XSHUT_Pin|TOF3_XSHUT_Pin|AIN1_Pin|AIN2_Pin, GPIO_PIN_RESET);

  /*Configure GPIO pin : LED_Pin */
  GPIO_InitStruct.Pin = LED_Pin;
  GPIO_InitStruct.Mode = GPIO_MODE_OUTPUT_PP;
  GPIO_InitStruct.Pull = GPIO_NOPULL;
  GPIO_InitStruct.Speed = GPIO_SPEED_FREQ_LOW;
  HAL_GPIO_Init(LED_GPIO_Port, &GPIO_InitStruct);

  /*Configure GPIO pins : STBY_Pin BIN1_Pin BIN2_Pin TOF1_XSHUT_Pin
                           TOF2_XSHUT_Pin TOF3_XSHUT_Pin AIN1_Pin AIN2_Pin */
  GPIO_InitStruct.Pin = STBY_Pin|BIN1_Pin|BIN2_Pin|TOF1_XSHUT_Pin
                          |TOF2_XSHUT_Pin|TOF3_XSHUT_Pin|AIN1_Pin|AIN2_Pin;
  GPIO_InitStruct.Mode = GPIO_MODE_OUTPUT_PP;
  GPIO_InitStruct.Pull = GPIO_NOPULL;
  GPIO_InitStruct.Speed = GPIO_SPEED_FREQ_LOW;
  HAL_GPIO_Init(GPIOB, &GPIO_InitStruct);

}

void Error_Handler(void)
{
  /* USER CODE BEGIN Error_Handler_Debug */
  /* User can add his own implementation to report the HAL error return state */
  __disable_irq();
  while (1)
  {
    HAL_GPIO_TogglePin(GPIOC, GPIO_PIN_13);
    for (volatile uint32_t i = 0; i < 500000; i++) {} // fast blink delay
  }
  /* USER CODE END Error_Handler_Debug */
}
